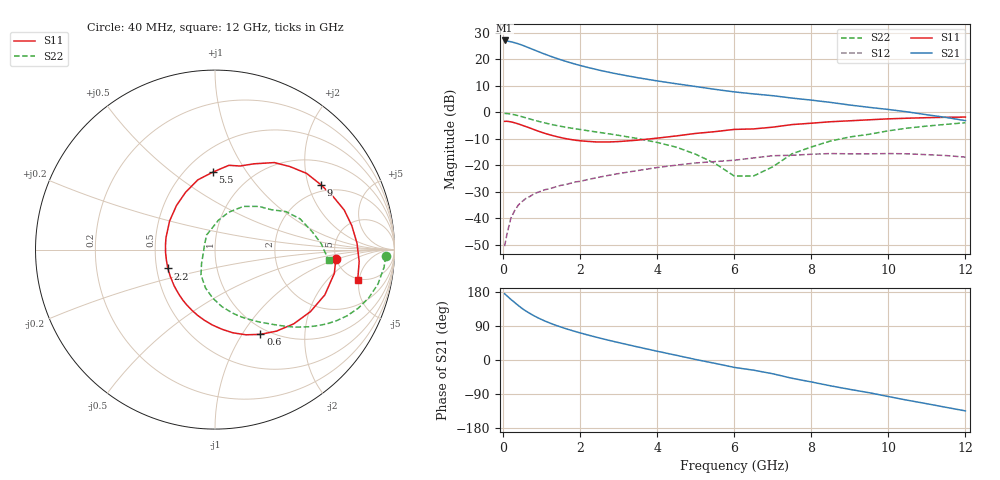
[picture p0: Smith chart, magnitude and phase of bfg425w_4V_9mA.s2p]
! Filename: 49bfg425.001
! BFG425W Field C1
! V1=8.315E-001V,V2=4.000E+000V, I1=9.911E-005A, I2=8.990E-003A
# GHz  S  MA  R 50
!  S11  S21  S12  S22
!Freq(GHz)  Mag  Ang  Mag  Ang  Mag  Ang  Mag  Ang
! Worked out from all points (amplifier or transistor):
!   44 points, 40 MHz to 12 GHz, reference 50 ohm
!   highest |S21| = 27.1 dB at 40 MHz (marker M1)
!   |S21| within 3 dB of that: start of sweep to 708.9 MHz
!   unconditionally stable (mu >= 1): 1.963 GHz to end of sweep
!   at 700 MHz: K = 0.52, MSG = 27.9 dB, |S12| = -31.7 dB
!   at 2.4 GHz: K = 1.09, MAG = 18.7 dB, |S12| = -24.7 dB
!   at 12 GHz: K = 1.41, MAG = 3.1 dB, |S12| = -16.9 dB
!   S11 on the Smith chart (normalised r, x): 40 MHz: 4.96, -0.95; 600 MHz: 0.91, -1.21; 2.2 GHz: 0.57, -0.13; 5.5 GHz: 0.67, +0.71; 9 GHz: 1.75, +2.42; 12 GHz: 4.82, -4.80
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0.04  0.675 -4.4  22.6 174.7  0.003 46.3  0.951 -2.3
0.2  0.662 -22.4  21.4 160.2  0.01 71.0  0.928 -11.9
0.3  0.634 -33.1  20.5 151.7  0.014 68.8  0.898 -17.4
0.4  0.603 -43.3  19.48 143.5  0.018 64.9  0.862 -22.3
0.5  0.569 -52.9  18.39 135.5  0.021 61.6  0.823 -26.6
0.6  0.536 -61.8  17.2 128.8  0.024 58.9  0.784 -30.4
0.8  0.474 -77.9  15.05 116.9  0.029 54.2  0.712 -36.5
0.9  0.445 -85.1  14.08 111.6  0.031 52.4  0.681 -39.1
1.2  0.379 -104.8  11.61 98.1  0.036 48.6  0.603 -45.5
1.4  0.347 -116.6  10.32 90.5  0.04 46.9  0.562 -49.0
1.6  0.322 -127.9  9.265 83.7  0.043 45.5  0.528 -52.2
1.9  0.296 -143.6  7.993 74.4  0.049 43.4  0.486 -56.8
2.2  0.283 -158.2  7.006 66.0  0.054 41.3  0.45 -61.5
3  0.281 166.5  5.221 45.9  0.07 34.6  0.368 -74.3
3.5  0.299 147.8  4.482 34.4  0.08 29.4  0.32 -83.1
4.5  0.359 117.2  3.447 12.4  0.101 16.8  0.22 -103.9
5.5  0.432 91.6  2.708 -8.8  0.118 2.5  0.109 -133.6
6.5  0.486 73.4  2.224 -26.8  0.138 -8.3  0.063 161.1
8.5  0.664 39.7  1.536 -68.2  0.167 -44.9  0.288 56.7
9  0.692 31.5  1.372 -77.5  0.165 -53.2  0.343 44.5
10.5  0.774 9.9  1.018 -106.2  0.165 -80.5  0.504 19.9
12  0.813 -12.0  0.696 -134.3  0.143 -111.3  0.636 -5.4
